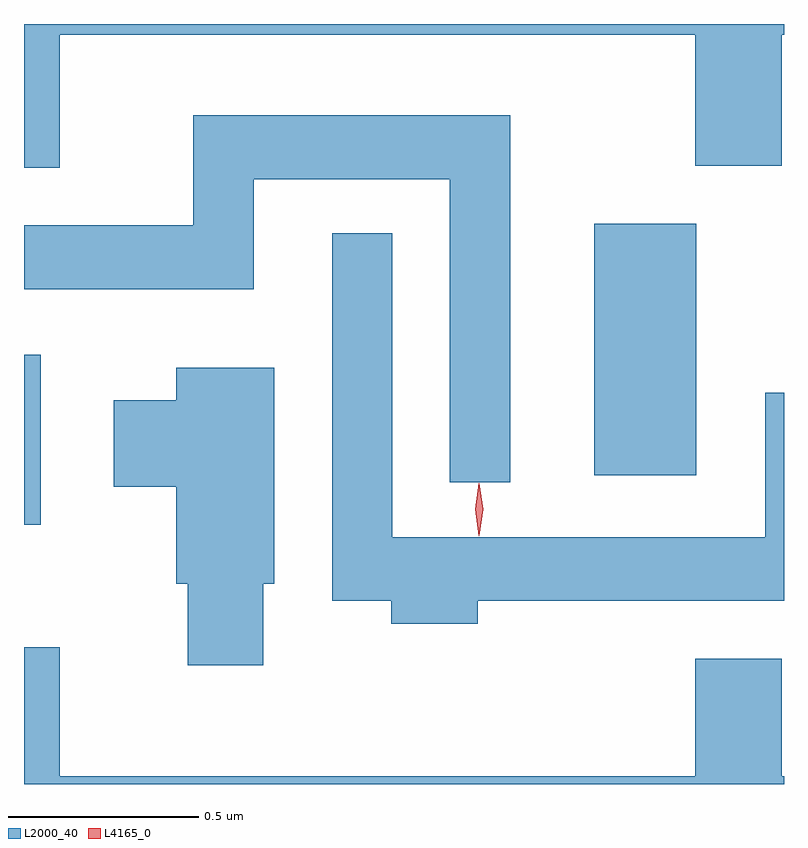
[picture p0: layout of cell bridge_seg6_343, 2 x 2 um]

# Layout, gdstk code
import gdstk
lib = gdstk.Library(unit=1e-6, precision=1e-09)
def R(c, l, rs):  # rectangles x0, y0, x1, y1
    for r in rs: c.add(gdstk.rectangle(r[:2], r[2:], *l))
def P(c, l, *ps):  # polygons
    for p in ps: c.add(gdstk.Polygon(p, *l))
L2000_40 = (2000, 40)
L4165_0 = (4165, 0)

bridge_seg6_343 = lib.new_cell('bridge_seg6_343')
R(bridge_seg6_343, L2000_40, [(1318.945,1530.986,1318.989,1531.434), (1320.446,1531.116,1320.714,1531.779)])
P(bridge_seg6_343, L2000_40, [(1319.039,1532.276),(1320.711,1532.276),(1320.711,1531.931),(1320.939,1531.931),(1320.939,1532.276),(1320.945,1532.276),(1320.945,1532.304),(1318.945,1532.304),(1318.945,1531.926),(1319.039,1531.926)],
  [(1320.224,1532.064),(1319.391,1532.064),(1319.391,1531.774),(1318.945,1531.774),(1318.945,1531.606),(1319.549,1531.606),(1319.549,1531.896),(1320.066,1531.896),(1320.066,1531.098),(1320.224,1531.098)],
  [(1320.139,1530.786),(1320.945,1530.786),(1320.945,1531.333),(1320.896,1531.333),(1320.896,1530.954),(1319.914,1530.954),(1319.914,1531.753),(1319.756,1531.753),(1319.756,1530.786),(1319.911,1530.786),(1319.911,1530.726),(1320.139,1530.726)],
  [(1319.574,1530.831),(1319.604,1530.831),(1319.604,1531.399),(1319.346,1531.399),(1319.346,1531.314),(1319.181,1531.314),(1319.181,1531.086),(1319.346,1531.086),(1319.346,1530.831),(1319.376,1530.831),(1319.376,1530.616),(1319.574,1530.616)],
  [(1320.945,1530.324),(1320.939,1530.324),(1320.939,1530.634),(1320.711,1530.634),(1320.711,1530.324),(1319.039,1530.324),(1319.039,1530.664),(1318.945,1530.664),(1318.945,1530.304),(1320.945,1530.304)])
P(bridge_seg6_343, L4165_0, [(1320.142,1530.957),(1320.133,1531.027),(1320.142,1531.096),(1320.143,1531.096),(1320.143,1531.096),(1320.153,1531.027),(1320.143,1530.957),(1320.143,1530.957)])

lib.write_gds('bridge_seg6_343.gds')
